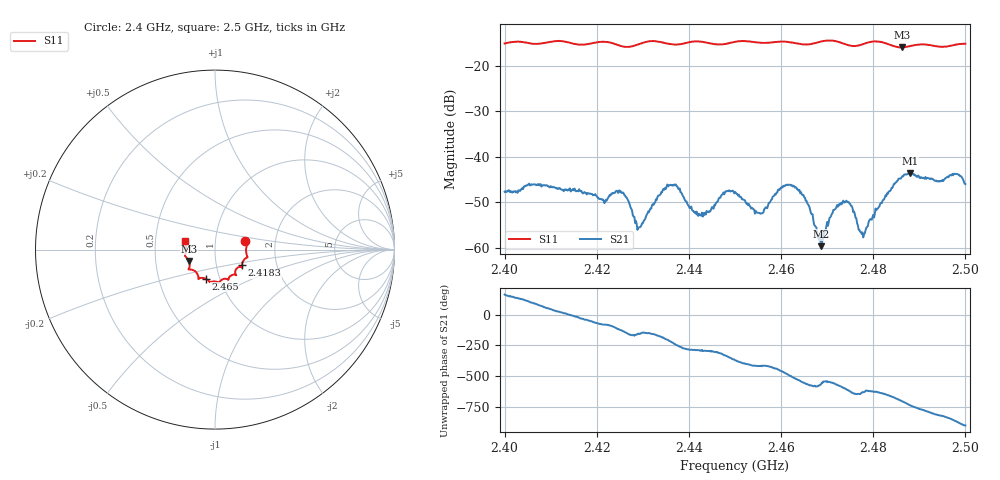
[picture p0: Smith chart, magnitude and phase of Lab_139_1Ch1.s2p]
# Hz S RI R 50
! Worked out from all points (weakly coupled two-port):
!   601 points, 2.4 GHz to 2.5 GHz, reference 50 ohm
!   highest |S21| = -43.60 dB at 2.488 GHz (marker M1); lowest = -59.7 dB at 2.4687 GHz (marker M2)
!   lowest |S11| = -16.0 dB at 2.4862 GHz (marker M3), VSWR 1.38, Z = 37.1 - j4.81 ohm
!   |S11| at or under -10 dB: start of sweep to end of sweep
!   S12 and S22 are empty: the file has one direction only
!   S11 on the Smith chart (normalised r, x): 2.4 GHz: 1.40, +0.13; 2.4183 GHz: 1.33, -0.24; 2.465 GHz: 0.86, -0.29; 2.5 GHz: 0.71, +0.07
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2.4e9  0.1688 0.0458  -0.004 0.000929  0 0  0 0
2.416667e9  0.1548 -0.0681  0.00363 -0.00209  0 0  0 0
2.418333e9  0.1499 -0.0866  0.00264 -0.00287  0 0  0 0
2.421667e9  0.1524 -0.1001  0.000549 -0.00302  0 0  0 0
2.425333e9  0.131 -0.0978  -0.00242 -0.00318  0 0  0 0
2.429167e9  0.1122 -0.1301  -0.0015 -0.000734  0 0  0 0
2.433333e9  0.1168 -0.1412  -0.00368 -0.00057  0 0  0 0
2.437e9  0.09 -0.1442  -0.00253 0.00419  0 0  0 0
2.4425e9  0.0729 -0.1681  0.000891 0.00207  0 0  0 0
2.45e9  0.0251 -0.1806  0.00402 -0.000715  0 0  0 0
2.455333e9  0.00488 -0.1781  0.00128 -0.00203  0 0  0 0
2.460833e9  -0.0302 -0.1806  -0.00198 -0.0043  0 0  0 0
2.465e9  -0.0529 -0.162  -0.00345 0.000958  0 0  0 0
2.466667e9  -0.0714 -0.1575  -0.00181 0.00146  0 0  0 0
2.468667e9  -0.088 -0.161  -0.000918 0.000479  0 0  0 0
2.471667e9  -0.0917 -0.1619  -0.00242 0.00103  0 0  0 0
2.473833e9  -0.0948 -0.1439  -0.00149 0.00279  0 0  0 0
2.477833e9  -0.1313 -0.1114  5.74e-05 0.00129  0 0  0 0
2.483333e9  -0.142 -0.0958  0.00192 0.00364  0 0  0 0
2.486167e9  -0.1447 -0.0633  0.0057 0.00168  0 0  0 0
2.488e9  -0.157 -0.0466  0.00626 -0.00212  0 0  0 0
2.5e9  -0.1668 0.0471  -0.00496 0.000386  0 0  0 0
